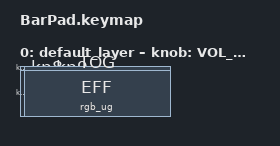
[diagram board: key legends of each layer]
#include <behaviors.dtsi>
#include <dt-bindings/zmk/keys.h>
#include <dt-bindings/zmk/rgb.h>

/ {
    keymap {
        compatible = "zmk,keymap";

        default_layer {
            /* 
               [ key1   key2   key3   key4 ]
               [ key5   key6   key7   key8 ]
            */
            bindings = <
                &kp KP_N7    &kp KP_N8    &kp KP_N9    &rgb_ug RGB_TOG
                &kp KP_N4    &kp KP_N5    &kp KP_N6    &rgb_ug RGB_EFF
            >;

            /* 노브(로터리 엔코더) 좌우 회전: 볼륨 조절 */
            sensor-bindings = <&inc_dec_kp C_VOL_UP C_VOL_DN>;
        };
    };
};
